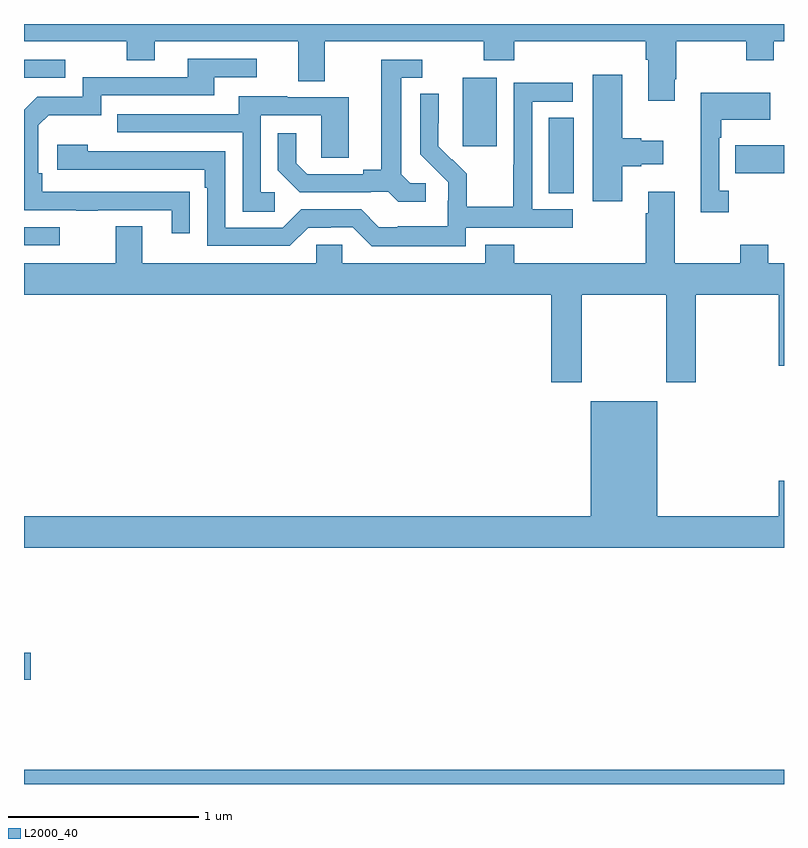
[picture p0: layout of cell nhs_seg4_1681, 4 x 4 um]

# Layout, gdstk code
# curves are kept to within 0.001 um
import gdstk
lib = gdstk.Library(unit=1e-6, precision=1e-09)
def R(c, l, rs):  # rectangles x0, y0, x1, y1
    for r in rs: c.add(gdstk.rectangle(r[:2], r[2:], *l))
def P(c, l, *ps):  # polygons
    for p in ps: c.add(gdstk.Polygon(p, *l))
L2000_40 = (2000, 40)

nhs_seg4_1681 = lib.new_cell('nhs_seg4_1681')
R(nhs_seg4_1681, L2000_40, [(197,804.9,201,804.976), (197,805.45,197.035,805.592), (197,807.735,197.188,807.831), (199.763,808.009,199.894,808.406), (200.743,808.114,201,808.261), (199.31,808.257,199.489,808.618), (197,808.617,197.218,808.713)])
P(nhs_seg4_1681, L2000_40, [(200.425,808.609),(200.433,808.609),(200.433,808.808),(200.8,808.808),(200.8,808.709),(200.946,808.709),(200.946,808.808),(201,808.808),(201,808.9),(197,808.9),(197,808.808),(197.542,808.808),(197.542,808.709),(197.689,808.709),(197.689,808.808),(198.443,808.808),(198.443,808.6),(198.583,808.6),(198.583,808.808),(199.42,808.808),(199.42,808.709),(199.58,808.709),(199.58,808.808),(200.273,808.808),(200.273,808.712),(200.285,808.712),(200.285,808.497),(200.425,808.497)],
  [(197.873,808.016),(197.096,808.017),(197.096,808.114),(197.076,808.114),(197.076,808.368),(197.129,808.421),(197.406,808.421),(197.406,808.524),(198.001,808.524),(198.001,808.62),(198.226,808.62),(198.226,808.716),(197.861,808.716),(197.861,808.62),(197.31,808.62),(197.31,808.518),(197.07,808.518),(197,808.448),(197,807.921),(197.275,807.921),(197.275,807.916),(197.387,807.916),(197.387,807.921),(197.777,807.921),(197.777,807.798),(197.873,807.798)],
  [(199.114,808.062),(199.032,808.062),(198.985,808.109),(198.985,808.617),(199.096,808.617),(199.096,808.713),(198.881,808.713),(198.881,808.133),(198.785,808.133),(198.785,808.11),(198.49,808.11),(198.433,808.167),(198.433,808.324),(198.336,808.324),(198.336,808.13),(198.452,808.014),(198.824,808.014),(198.824,808.017),(198.918,808.017),(198.97,807.965),(199.114,807.965)],
  [(200.149,808.151),(200.249,808.151),(200.249,808.163),(200.365,808.163),(200.365,808.285),(200.249,808.285),(200.249,808.298),(200.149,808.298),(200.149,808.633),(199.994,808.633),(199.994,807.966),(200.149,807.966)],
  [(199.326,807.828),(199.888,807.828),(199.888,807.924),(199.674,807.924),(199.674,808.491),(199.888,808.491),(199.888,808.59),(199.578,808.59),(199.578,808.16),(199.576,808.16),(199.576,807.937),(199.331,807.937),(199.331,808.111),(199.254,808.188),(199.251,808.185),(199.181,808.256),(199.182,808.532),(199.086,808.532),(199.086,808.214),(199.232,808.066),(199.232,807.969),(199.23,807.969),(199.23,807.835),(198.967,807.835),(198.967,807.831),(198.867,807.831),(198.774,807.924),(198.459,807.924),(198.363,807.828),(198.06,807.828),(198.06,808.23),(197.336,808.23),(197.336,808.264),(197.175,808.264),(197.175,808.134),(197.951,808.134),(197.951,808.037),(197.964,808.037),(197.964,807.732),(198.399,807.732),(198.495,807.828),(198.614,807.828),(198.614,807.831),(198.729,807.831),(198.829,807.731),(199.326,807.731)],
  [(200.71,808.022),(200.658,808.022),(200.658,808.301),(200.671,808.301),(200.671,808.397),(200.927,808.397),(200.927,808.537),(200.561,808.537),(200.561,807.909),(200.71,807.909)],
  [(198.319,808.014),(198.246,808.014),(198.246,808.419),(198.564,808.419),(198.564,808.195),(198.709,808.195),(198.709,808.515),(198.385,808.515),(198.385,808.519),(198.131,808.519),(198.131,808.425),(197.491,808.425),(197.491,808.329),(198.15,808.329),(198.15,807.913),(198.319,807.913)],
  [(199.935,807.476),(200.38,807.476),(200.38,807.015),(200.535,807.015),(200.535,807.476),(200.972,807.476),(200.972,807.102),(201,807.102),(201,807.64),(200.917,807.64),(200.917,807.739),(200.77,807.739),(200.77,807.64),(200.425,807.64),(200.425,808.018),(200.285,808.018),(200.285,807.905),(200.273,807.905),(200.273,807.64),(199.58,807.64),(199.58,807.739),(199.427,807.739),(199.427,807.64),(198.675,807.64),(198.675,807.738),(198.537,807.738),(198.537,807.64),(197.623,807.64),(197.623,807.835),(197.483,807.835),(197.483,807.64),(197,807.64),(197,807.476),(199.775,807.476),(199.775,807.015),(199.935,807.015)],
  [(201,806.497),(200.972,806.497),(200.972,806.308),(200.332,806.308),(200.332,806.914),(199.982,806.914),(199.982,806.308),(197,806.308),(197,806.144),(201,806.144)])

lib.write_gds('nhs_seg4_1681.gds')
